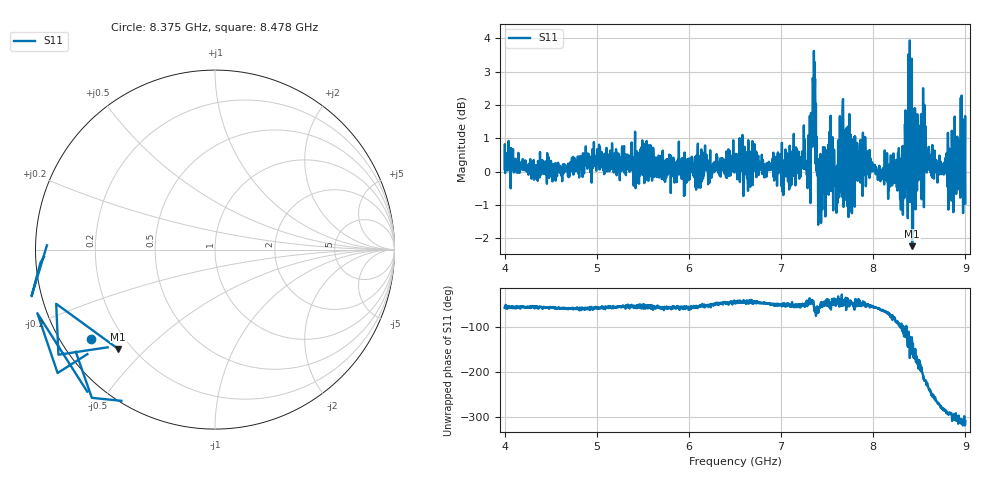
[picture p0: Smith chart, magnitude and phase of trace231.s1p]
! Created with skrf 1.8.0 (http://scikit-rf.org).
# Hz S RI R 50.0
!freq ReS11 ImS11
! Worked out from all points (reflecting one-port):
!   1601 points, 4 GHz to 9 GHz, reference 50 ohm
!   lowest |S11| = -2.2 dB at 8.422 GHz (marker M1), VSWR 7.80, Z = 7.53 - j20.7 ohm
!   phase of S11 starts at -58 deg and turns -250 deg over the sweep
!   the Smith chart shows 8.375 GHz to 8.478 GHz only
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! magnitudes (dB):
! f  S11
! 4 GHz  0.1
! 4.625 GHz  -0.3
! 5.25 GHz  -0.3
! 5.875 GHz  0.2
! 6.5 GHz  0.4
! 7.125 GHz  0.4
! 7.297 GHz  1.1
! 7.353 GHz  2.4
! 7.369 GHz  2.8
! 7.397 GHz  0.0
! 7.422 GHz  -0.5
! 7.534 GHz  0.2
! 7.609 GHz  -0.2
! 7.662 GHz  -0.2
! 7.703 GHz  1.2
! 7.75 GHz  -0.2
! 7.891 GHz  -0.1
! 8.316 GHz  0.7
! 8.331 GHz  -0.7
! 8.375 GHz  -1.4
! 8.422 GHz  -2.2
! 8.447 GHz  1.9
! 8.459 GHz  -1.1
! 8.553 GHz  0.0
! 8.606 GHz  0.6
! 8.747 GHz  0.2
! 8.972 GHz  0.4
! 9 GHz  -1.0
